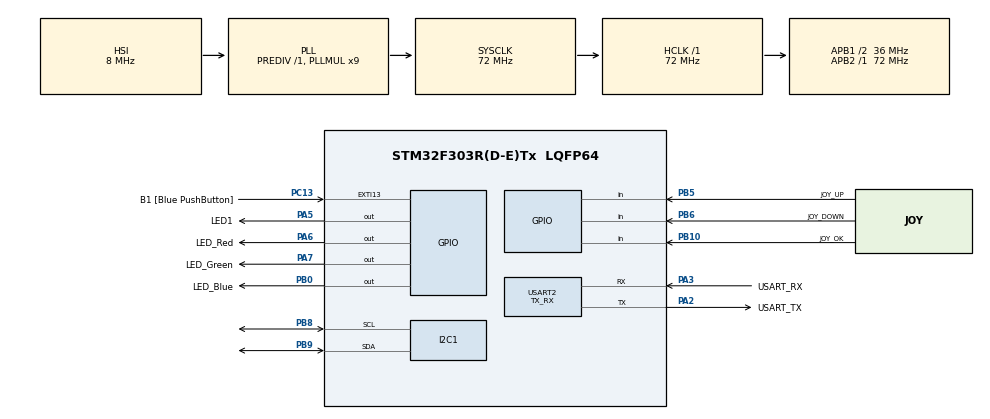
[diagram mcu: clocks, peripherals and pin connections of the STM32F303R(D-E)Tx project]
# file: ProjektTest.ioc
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Mcu.Family=STM32F3
Mcu.Name=STM32F303R(D-E)Tx
Mcu.Package=LQFP64
NVIC.I2C1_ER_IRQn=true\:0\:0\:false\:false\:true\:true
NVIC.I2C1_EV_IRQn=true\:0\:0\:false\:false\:true\:true
NVIC.PriorityGroup=NVIC_PRIORITYGROUP_0
PA13.GPIO_Label=TMS
PA13.Signal=SYS_JTMS-SWDIO
PA14.GPIO_Label=TCK
PA14.Signal=SYS_JTCK-SWCLK
PA2.GPIO_Label=USART_TX
PA2.GPIO_Mode=GPIO_MODE_AF_PP
PA2.GPIO_PuPd=GPIO_NOPULL
PA2.GPIO_Speed=GPIO_SPEED_FREQ_LOW
PA2.Mode=Asynchronous
PA2.Signal=USART2_TX
PA3.GPIO_Label=USART_RX
PA3.GPIO_Mode=GPIO_MODE_AF_PP
PA3.GPIO_PuPd=GPIO_NOPULL
PA3.GPIO_Speed=GPIO_SPEED_FREQ_LOW
PA3.Mode=Asynchronous
PA3.Signal=USART2_RX
PA5.GPIO_Label=LED1
PA5.Signal=GPIO_Output
PA6.GPIO_Label=LED_Red
PA6.Signal=GPIO_Output
PA7.GPIO_Label=LED_Green
PA7.Signal=GPIO_Output
PB0.GPIO_Label=LED_Blue
PB0.Signal=GPIO_Output
PB10.GPIO_Label=JOY_OK
PB10.Signal=GPIO_Input
PB3.GPIO_Label=SWO
PB3.Signal=SYS_JTDO-TRACESWO
PB5.GPIO_Label=JOY_UP
PB5.Signal=GPIO_Input
PB6.GPIO_Label=JOY_DOWN
PB6.Signal=GPIO_Input
PB8.Mode=I2C
PB8.Signal=I2C1_SCL
PB9.Mode=I2C
PB9.Signal=I2C1_SDA
PC13.GPIO_Label=B1 [Blue PushButton]
PC13.GPIO_ModeDefaultEXTI=GPIO_MODE_IT_FALLING
PC13.Signal=GPXTI13
PC14-OSC32_IN.Signal=RCC_OSC32_IN
PC15-OSC32_OUT.Signal=RCC_OSC32_OUT
PF0-OSC_IN.Signal=RCC_OSC_IN
PF1-OSC_OUT.Signal=RCC_OSC_OUT
ProjectManager.HeapSize=0x200
ProjectManager.StackSize=0x400
ProjectManager.TargetToolchain=SW4STM32
RCC.AHBFreq_Value=72000000
RCC.APB1CLKDivider=RCC_HCLK_DIV2
RCC.APB1Freq_Value=36000000
RCC.APB1TimFreq_Value=72000000
RCC.APB2Freq_Value=72000000
RCC.APB2TimFreq_Value=72000000
RCC.CortexFreq_Value=72000000
RCC.HCLKFreq_Value=72000000
RCC.HSE_VALUE=8000000
RCC.HSI_VALUE=8000000
RCC.LSE_VALUE=32768
RCC.PLLM=8
RCC.PLLMUL=RCC_PLL_MUL9
RCC.PLLN=336
RCC.PLLP=RCC_PLLP_DIV4
RCC.PLLQ=7
RCC.RCC_PLLsource_Clock_Source_FROM_HSE=RCC_HSE_PREDIV_DIV2
RCC.SYSCLKFreq_VALUE=72000000
RCC.SYSCLKSourceVirtual=RCC_SYSCLKSOURCE_PLLCLK
RCC.USBFreq_Value=72000000
USART2.Mode=MODE_TX_RX
USART2.VirtualMode-Asynchronous=VM_ASYNC
USART2.WordLength=WORDLENGTH_8B
board=NUCLEO-F303RE

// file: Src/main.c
/**
  ******************************************************************************
  * @file           : main.c
  * @brief          : Main program body
  ******************************************************************************
  ** This notice applies to any and all portions of this file
  * that are not between comment pairs USER CODE BEGIN and
  * USER CODE END. Other portions of this file, whether
  * inserted by the user or by software development tools
  * are owned by their respective copyright owners.
  *
  * COPYRIGHT(c) 2018 STMicroelectronics
  *
  * Redistribution and use in source and binary forms, with or without modification,
  * are permitted provided that the following conditions are met:
  *   1. Redistributions of source code must retain the above copyright notice,
  *      this list of conditions and the following disclaimer.
  *   2. Redistributions in binary form must reproduce the above copyright notice,
  *      this list of conditions and the following disclaimer in the documentation
  *      and/or other materials provided with the distribution.
  *   3. Neither the name of STMicroelectronics nor the names of its contributors
  *      may be used to endorse or promote products derived from this software
  *      without specific prior written permission.
  *
  * THIS SOFTWARE IS PROVIDED BY THE COPYRIGHT HOLDERS AND CONTRIBUTORS "AS IS"
  * AND ANY EXPRESS OR IMPLIED WARRANTIES, INCLUDING, BUT NOT LIMITED TO, THE
  * IMPLIED WARRANTIES OF MERCHANTABILITY AND FITNESS FOR A PARTICULAR PURPOSE ARE
  * DISCLAIMED. IN NO EVENT SHALL THE COPYRIGHT HOLDER OR CONTRIBUTORS BE LIABLE
  * FOR ANY DIRECT, INDIRECT, INCIDENTAL, SPECIAL, EXEMPLARY, OR CONSEQUENTIAL
  * DAMAGES (INCLUDING, BUT NOT LIMITED TO, PROCUREMENT OF SUBSTITUTE GOODS OR
  * SERVICES; LOSS OF USE, DATA, OR PROFITS; OR BUSINESS INTERRUPTION) HOWEVER
  * CAUSED AND ON ANY THEORY OF LIABILITY, WHETHER IN CONTRACT, STRICT LIABILITY,
  * OR TORT (INCLUDING NEGLIGENCE OR OTHERWISE) ARISING IN ANY WAY OUT OF THE USE
  * OF THIS SOFTWARE, EVEN IF ADVISED OF THE POSSIBILITY OF SUCH DAMAGE.
  *
  ******************************************************************************
  */
#include "main.h"
#include "stm32f3xx_hal.h"

/* USER CODE BEGIN Includes */
#include "stm32f3xx_hal_conf.h"
#include "stm32f3xx_it.h"
#include "stm32f3xx_hal_i2c.h"
#include "stm32f3xx_hal_i2c_ex.h"
#include "stm32f3xx_hal_def.h"
#include <string.h>
#include <stdio.h>
#include <math.h>
#define STLM75_ADDR 0x90
#define STLM75_TEMP 0x00
/* USER CODE END Includes */

I2C_HandleTypeDef hi2c1;

UART_HandleTypeDef huart2;

/* USER CODE BEGIN PV */
/* Private variables ---------------------------------------------------------*/
uint32_t del = 1000;
/* USER CODE END PV */

void SystemClock_Config(void);
static void MX_GPIO_Init(void);
static void MX_USART2_UART_Init(void);
static void MX_I2C1_Init(void);

/* USER CODE BEGIN PFP */
/* Private function prototypes -----------------------------------------------*/
float GetTempSTLM75(void);
/* USER CODE END PFP */

int main(void)
{

  /* MCU Configuration----------------------------------------------------------*/

  /* Reset of all peripherals, Initializes the Flash interface and the Systick. */
  HAL_Init();

  /* Configure the system clock */
  SystemClock_Config();

  /* Initialize all configured peripherals */
  MX_GPIO_Init();
  MX_USART2_UART_Init();
  MX_I2C1_Init();
  /* USER CODE BEGIN 2 */
  HAL_I2C_Init(&hi2c1);
  /* USER CODE END 2 */

  /* Infinite loop */
  while (1)
  {

  /* USER CODE BEGIN 3 */

	  //Miganie niebieskiej diody
	  //HAL_GPIO_TogglePin(LED_Blue_GPIO_Port, LED_Blue_Pin);
	  //HAL_Delay(500);

	  //Sterowanie przyciskiem
	  //if (HAL_GPIO_ReadPin(B1_GPIO_Port, B1_Pin) == GPIO_PIN_RESET)
			 // HAL_GPIO_TogglePin(LED_Blue_GPIO_Port, LED_Blue_Pin);

	  //Joystick
	  if (HAL_GPIO_ReadPin(JOY_UP_GPIO_Port, JOY_UP_Pin) == GPIO_PIN_SET) {
		  del = del - 100;
		  if (del <= 0) del = 100;
	  }
	  if (HAL_GPIO_ReadPin(JOY_DOWN_GPIO_Port, JOY_DOWN_Pin) == GPIO_PIN_SET) {
		  del = del + 100;
		  if (del > 2000) del = 2000;
	  }

	  //Kolorowa dioda
	  HAL_GPIO_WritePin(LED_Red_GPIO_Port, LED_Red_Pin, GPIO_PIN_RESET);
	  HAL_Delay(del);
	  HAL_GPIO_WritePin(LED_Red_GPIO_Port, LED_Red_Pin, GPIO_PIN_SET);

	  HAL_GPIO_WritePin(LED_Blue_GPIO_Port, LED_Blue_Pin, GPIO_PIN_RESET);
	  HAL_Delay(del);
	  HAL_GPIO_WritePin(LED_Blue_GPIO_Port, LED_Blue_Pin, GPIO_PIN_SET);

	  HAL_GPIO_WritePin(LED_Green_GPIO_Port, LED_Green_Pin, GPIO_PIN_RESET);
	  HAL_Delay(del);
	  HAL_GPIO_WritePin(LED_Green_GPIO_Port, LED_Green_Pin, GPIO_PIN_SET);

	  static char data[30];
	  float temp = GetTempSTLM75();
	  char sign; int i1, i2;
	  if (temp >= 0.0f) {
		  sign = '+';
	  } else {
		  sign = '-';
	  }
	  i1 = (int32_t) temp;
	  temp = temp - (float)i1;
	  i2 = (int32_t) trunc(temp*pow(10, 2));
	  snprintf(data, 30, "Temperature: %c%d.%02d \r\n", sign, i1, i2);
	  //snprintf(data, 30, "Temperature");
	  HAL_UART_Transmit(&huart2, (uint8_t*)data, strlen(data), 10);
  }
  /* USER CODE END 3 */

}

void SystemClock_Config(void)
{

  RCC_OscInitTypeDef RCC_OscInitStruct;
  RCC_ClkInitTypeDef RCC_ClkInitStruct;
  RCC_PeriphCLKInitTypeDef PeriphClkInit;

    /**Initializes the CPU, AHB and APB busses clocks
    */
  RCC_OscInitStruct.OscillatorType = RCC_OSCILLATORTYPE_HSI;
  RCC_OscInitStruct.HSIState = RCC_HSI_ON;
  RCC_OscInitStruct.HSICalibrationValue = 16;
  RCC_OscInitStruct.PLL.PLLState = RCC_PLL_ON;
  RCC_OscInitStruct.PLL.PLLSource = RCC_PLLSOURCE_HSI;
  RCC_OscInitStruct.PLL.PLLMUL = RCC_PLL_MUL9;
  RCC_OscInitStruct.PLL.PREDIV = RCC_PREDIV_DIV1;
  if (HAL_RCC_OscConfig(&RCC_OscInitStruct) != HAL_OK)
  {
    _Error_Handler(__FILE__, __LINE__);
  }

    /**Initializes the CPU, AHB and APB busses clocks
    */
  RCC_ClkInitStruct.ClockType = RCC_CLOCKTYPE_HCLK|RCC_CLOCKTYPE_SYSCLK
                              |RCC_CLOCKTYPE_PCLK1|RCC_CLOCKTYPE_PCLK2;
  RCC_ClkInitStruct.SYSCLKSource = RCC_SYSCLKSOURCE_PLLCLK;
  RCC_ClkInitStruct.AHBCLKDivider = RCC_SYSCLK_DIV1;
  RCC_ClkInitStruct.APB1CLKDivider = RCC_HCLK_DIV2;
  RCC_ClkInitStruct.APB2CLKDivider = RCC_HCLK_DIV1;

  if (HAL_RCC_ClockConfig(&RCC_ClkInitStruct, FLASH_LATENCY_2) != HAL_OK)
  {
    _Error_Handler(__FILE__, __LINE__);
  }

  PeriphClkInit.PeriphClockSelection = RCC_PERIPHCLK_USART2|RCC_PERIPHCLK_I2C1;
  PeriphClkInit.Usart2ClockSelection = RCC_USART2CLKSOURCE_PCLK1;
  PeriphClkInit.I2c1ClockSelection = RCC_I2C1CLKSOURCE_HSI;
  if (HAL_RCCEx_PeriphCLKConfig(&PeriphClkInit) != HAL_OK)
  {
    _Error_Handler(__FILE__, __LINE__);
  }

    /**Configure the Systick interrupt time
    */
  HAL_SYSTICK_Config(HAL_RCC_GetHCLKFreq()/1000);

    /**Configure the Systick
    */
  HAL_SYSTICK_CLKSourceConfig(SYSTICK_CLKSOURCE_HCLK);

  /* SysTick_IRQn interrupt configuration */
  HAL_NVIC_SetPriority(SysTick_IRQn, 0, 0);
}

/* I2C1 init function */
static void MX_I2C1_Init(void)
{

  hi2c1.Instance = I2C1;
  hi2c1.Init.Timing = 0x2000090E;
  hi2c1.Init.OwnAddress1 = 0;
  hi2c1.Init.AddressingMode = I2C_ADDRESSINGMODE_7BIT;
  hi2c1.Init.DualAddressMode = I2C_DUALADDRESS_DISABLE;
  hi2c1.Init.OwnAddress2 = 0;
  hi2c1.Init.OwnAddress2Masks = I2C_OA2_NOMASK;
  hi2c1.Init.GeneralCallMode = I2C_GENERALCALL_DISABLE;
  hi2c1.Init.NoStretchMode = I2C_NOSTRETCH_DISABLE;
  if (HAL_I2C_Init(&hi2c1) != HAL_OK)
  {
    _Error_Handler(__FILE__, __LINE__);
  }

    /**Configure Analogue filter
    */
  if (HAL_I2CEx_ConfigAnalogFilter(&hi2c1, I2C_ANALOGFILTER_ENABLE) != HAL_OK)
  {
    _Error_Handler(__FILE__, __LINE__);
  }

    /**Configure Digital filter
    */
  if (HAL_I2CEx_ConfigDigitalFilter(&hi2c1, 0) != HAL_OK)
  {
    _Error_Handler(__FILE__, __LINE__);
  }

}

/* USART2 init function */
static void MX_USART2_UART_Init(void)
{

  huart2.Instance = USART2;
  huart2.Init.BaudRate = 38400;
  huart2.Init.WordLength = UART_WORDLENGTH_8B;
  huart2.Init.StopBits = UART_STOPBITS_1;
  huart2.Init.Parity = UART_PARITY_NONE;
  huart2.Init.Mode = UART_MODE_TX_RX;
  huart2.Init.HwFlowCtl = UART_HWCONTROL_NONE;
  huart2.Init.OverSampling = UART_OVERSAMPLING_16;
  huart2.Init.OneBitSampling = UART_ONE_BIT_SAMPLE_DISABLE;
  huart2.AdvancedInit.AdvFeatureInit = UART_ADVFEATURE_NO_INIT;
  if (HAL_UART_Init(&huart2) != HAL_OK)
  {
    _Error_Handler(__FILE__, __LINE__);
  }

}

/** Configure pins as
        * Analog
        * Input
        * Output
        * EVENT_OUT
        * EXTI
*/
static void MX_GPIO_Init(void)
{

  GPIO_InitTypeDef GPIO_InitStruct;

  /* GPIO Ports Clock Enable */
  __HAL_RCC_GPIOC_CLK_ENABLE();
  __HAL_RCC_GPIOF_CLK_ENABLE();
  __HAL_RCC_GPIOA_CLK_ENABLE();
  __HAL_RCC_GPIOB_CLK_ENABLE();

  /*Configure GPIO pin Output Level */
  HAL_GPIO_WritePin(GPIOA, LED1_Pin|LED_Red_Pin|LED_Green_Pin, GPIO_PIN_RESET);

  /*Configure GPIO pin Output Level */
  HAL_GPIO_WritePin(LED_Blue_GPIO_Port, LED_Blue_Pin, GPIO_PIN_RESET);

  /*Configure GPIO pin : B1_Pin */
  GPIO_InitStruct.Pin = B1_Pin;
  GPIO_InitStruct.Mode = GPIO_MODE_IT_FALLING;
  GPIO_InitStruct.Pull = GPIO_NOPULL;
  HAL_GPIO_Init(B1_GPIO_Port, &GPIO_InitStruct);

  /*Configure GPIO pins : LED1_Pin LED_Red_Pin LED_Green_Pin */
  GPIO_InitStruct.Pin = LED1_Pin|LED_Red_Pin|LED_Green_Pin;
  GPIO_InitStruct.Mode = GPIO_MODE_OUTPUT_PP;
  GPIO_InitStruct.Pull = GPIO_NOPULL;
  GPIO_InitStruct.Speed = GPIO_SPEED_FREQ_LOW;
  HAL_GPIO_Init(GPIOA, &GPIO_InitStruct);

  /*Configure GPIO pin : LED_Blue_Pin */
  GPIO_InitStruct.Pin = LED_Blue_Pin;
  GPIO_InitStruct.Mode = GPIO_MODE_OUTPUT_PP;
  GPIO_InitStruct.Pull = GPIO_NOPULL;
  GPIO_InitStruct.Speed = GPIO_SPEED_FREQ_LOW;
  HAL_GPIO_Init(LED_Blue_GPIO_Port, &GPIO_InitStruct);

  /*Configure GPIO pins : JOY_OK_Pin JOY_UP_Pin JOY_DOWN_Pin */
  GPIO_InitStruct.Pin = JOY_OK_Pin|JOY_UP_Pin|JOY_DOWN_Pin;
  GPIO_InitStruct.Mode = GPIO_MODE_INPUT;
  GPIO_InitStruct.Pull = GPIO_NOPULL;
  HAL_GPIO_Init(GPIOB, &GPIO_InitStruct);

}

/* USER CODE BEGIN 4 */
float GetTempSTLM75(void) {
	float result;
	uint8_t STLM75Data[2];
	uint16_t temp;
	HAL_I2C_Mem_Read(&hi2c1, (uint16_t)STLM75_ADDR, (uint16_t)STLM75_TEMP, I2C_MEMADD_SIZE_8BIT, STLM75Data, 2, 10);
	temp = STLM75Data[1] | (STLM75Data[0] << 8);
	if(temp && (uint16_t)(1 << 8) == 1)
		result = -(float)(temp >> 7)*0.5;
	else
		result = (float)(temp >> 7)*0.5;
	return result;
}
/* USER CODE END 4 */

void _Error_Handler(char *file, int line)
{
  while(1)
  {
  }
}

/************************ (C) COPYRIGHT STMicroelectronics *****END OF FILE****/
